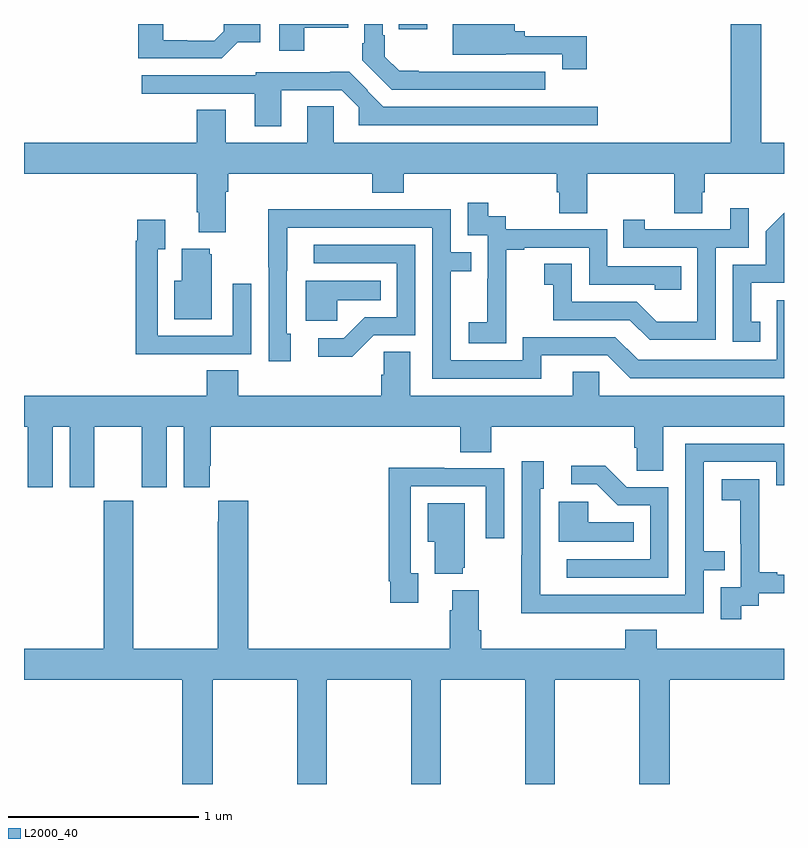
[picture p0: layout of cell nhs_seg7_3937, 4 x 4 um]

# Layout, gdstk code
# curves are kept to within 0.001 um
import gdstk
lib = gdstk.Library(unit=1e-6, precision=1e-09)
def R(c, l, rs):  # rectangles x0, y0, x1, y1
    for r in rs: c.add(gdstk.rectangle(r[:2], r[2:], *l))
def P(c, l, *ps):  # polygons
    for p in ps: c.add(gdstk.Polygon(p, *l))
L2000_40 = (2000, 40)

nhs_seg7_3937 = lib.new_cell('nhs_seg7_3937')
R(nhs_seg7_3937, L2000_40, [(360.973,1071.972,361.123,1072)])
P(nhs_seg7_3937, L2000_40, [(360.474,1071.98),(360.707,1071.98),(360.707,1072),(360.344,1072),(360.344,1071.858),(360.474,1071.858)],
  [(361.744,1071.75),(361.078,1071.75),(361.078,1071.753),(360.974,1071.753),(360.898,1071.828),(360.898,1071.94),(360.888,1071.94),(360.888,1072),(360.792,1072),(360.792,1071.898),(360.78,1071.898),(360.78,1071.809),(360.935,1071.654),(361.744,1071.654)],
  [(360.126,1071.905),(360.244,1071.905),(360.244,1072),(360.051,1072),(360.051,1071.963),(360,1071.912),(359.858,1071.912),(359.858,1071.915),(359.734,1071.915),(359.734,1072),(359.6,1072),(359.6,1071.819),(360.04,1071.819)],
  [(361.963,1071.936),(361.635,1071.936),(361.635,1071.961),(361.582,1071.961),(361.582,1072),(361.256,1072),(361.256,1071.839),(361.535,1071.839),(361.535,1071.84),(361.832,1071.84),(361.832,1071.762),(361.963,1071.762)],
  [(360.061,1071.116),(360.074,1071.116),(360.074,1071.212),(360.833,1071.212),(360.833,1071.113),(360.998,1071.113),(360.998,1071.212),(361.805,1071.212),(361.805,1071.114),(361.817,1071.114),(361.817,1071.004),(361.965,1071.004),(361.965,1071.212),(362.422,1071.212),(362.422,1071.004),(362.569,1071.004),(362.569,1071.114),(362.582,1071.114),(362.582,1071.212),(363,1071.212),(363,1071.376),(362.88,1071.376),(362.88,1072),(362.72,1072),(362.72,1071.376),(360.63,1071.376),(360.63,1071.566),(360.491,1071.566),(360.491,1071.376),(360.061,1071.376),(360.061,1071.548),(359.909,1071.548),(359.909,1071.376),(359,1071.376),(359,1071.212),(359.909,1071.212),(359.909,1071.01),(359.921,1071.01),(359.921,1070.903),(360.061,1070.903)],
  [(360.355,1071.651),(360.672,1071.651),(360.763,1071.561),(360.763,1071.468),(362.02,1071.468),(362.02,1071.564),(360.891,1071.564),(360.806,1071.649),(360.809,1071.652),(360.711,1071.75),(360.611,1071.75),(360.611,1071.747),(360.219,1071.747),(360.219,1071.729),(359.619,1071.729),(359.619,1071.633),(360.215,1071.633),(360.215,1071.462),(360.355,1071.462)],
  [(361.539,1070.527),(361.538,1070.527),(361.538,1070.811),(361.633,1070.811),(361.633,1070.823),(361.974,1070.823),(361.974,1070.628),(362.319,1070.628),(362.319,1070.601),(362.459,1070.601),(362.459,1070.724),(362.07,1070.724),(362.07,1070.919),(361.536,1070.919),(361.536,1070.988),(361.444,1070.988),(361.444,1071.058),(361.335,1071.058),(361.335,1070.889),(361.44,1070.889),(361.44,1070.66),(361.439,1070.66),(361.439,1070.431),(361.341,1070.431),(361.341,1070.321),(361.539,1070.321)],
  [(362.64,1070.823),(362.814,1070.823),(362.814,1071.031),(362.717,1071.031),(362.717,1070.919),(362.266,1070.919),(362.266,1070.971),(362.155,1070.971),(362.155,1070.823),(362.544,1070.823),(362.544,1070.434),(362.33,1070.434),(362.226,1070.538),(361.884,1070.538),(361.884,1070.737),(361.737,1070.737),(361.737,1070.627),(361.786,1070.627),(361.786,1070.442),(362.189,1070.442),(362.294,1070.337),(362.64,1070.337)],
  [(361.723,1070.256),(362.07,1070.256),(362.19,1070.136),(363,1070.136),(363,1070.547),(362.961,1070.547),(362.961,1070.232),(362.232,1070.232),(362.112,1070.352),(361.626,1070.352),(361.626,1070.229),(361.245,1070.229),(361.245,1070.698),(361.355,1070.698),(361.355,1070.799),(361.245,1070.799),(361.245,1071.024),(360.749,1071.024),(360.749,1071.026),(360.286,1071.026),(360.286,1070.719),(360.288,1070.719),(360.288,1070.226),(360.403,1070.226),(360.403,1070.37),(360.384,1070.37),(360.385,1070.928),(361.149,1070.928),(361.149,1070.133),(361.723,1070.133)],
  [(362.876,1070.433),(362.827,1070.433),(362.827,1070.637),(363,1070.637),(363,1071.006),(362.904,1070.91),(362.904,1070.733),(362.73,1070.733),(362.73,1070.328),(362.876,1070.328)],
  [(359.879,1070.262),(360.195,1070.262),(360.195,1070.632),(360.099,1070.632),(360.099,1070.358),(359.703,1070.358),(359.703,1070.815),(359.743,1070.815),(359.743,1070.971),(359.595,1070.971),(359.595,1070.858),(359.587,1070.858),(359.587,1070.261),(359.879,1070.261)],
  [(360.84,1070.361),(361.059,1070.361),(361.059,1070.838),(360.525,1070.838),(360.525,1070.742),(360.963,1070.742),(360.963,1070.457),(360.794,1070.457),(360.683,1070.346),(360.549,1070.346),(360.549,1070.249),(360.727,1070.249)],
  [(359.989,1070.787),(359.978,1070.787),(359.978,1070.818),(359.831,1070.818),(359.831,1070.65),(359.792,1070.65),(359.792,1070.447),(359.989,1070.447)],
  [(360.648,1070.546),(360.878,1070.546),(360.878,1070.65),(360.482,1070.65),(360.482,1070.438),(360.648,1070.438)],
  [(359.152,1069.88),(359.24,1069.88),(359.24,1069.563),(359.371,1069.563),(359.371,1069.88),(359.621,1069.88),(359.621,1069.563),(359.752,1069.563),(359.752,1069.88),(359.84,1069.88),(359.84,1069.563),(359.977,1069.563),(359.977,1069.675),(359.984,1069.675),(359.984,1069.88),(361.295,1069.88),(361.295,1069.747),(361.46,1069.747),(361.46,1069.88),(362.213,1069.88),(362.213,1069.771),(362.226,1069.771),(362.226,1069.648),(362.365,1069.648),(362.365,1069.88),(363,1069.88),(363,1070.044),(362.028,1070.044),(362.028,1070.171),(361.889,1070.171),(361.889,1070.044),(361.033,1070.044),(361.033,1070.276),(360.894,1070.276),(360.894,1070.153),(360.881,1070.153),(360.881,1070.044),(360.128,1070.044),(360.128,1070.177),(359.963,1070.177),(359.963,1070.044),(359,1070.044),(359,1069.88),(359.021,1069.88),(359.021,1069.563),(359.152,1069.563)],
  [(362.081,1068.9),(362.577,1068.9),(362.577,1069.125),(362.687,1069.125),(362.687,1069.226),(362.577,1069.226),(362.577,1069.695),(362.958,1069.695),(362.958,1069.572),(363,1069.572),(363,1069.791),(362.481,1069.791),(362.481,1068.996),(361.717,1068.996),(361.717,1069.25),(361.716,1069.25),(361.716,1069.554),(361.735,1069.554),(361.735,1069.699),(361.62,1069.699),(361.62,1069.205),(361.618,1069.205),(361.618,1068.899),(362.081,1068.899)],
  [(362.391,1069.563),(362.172,1069.563),(362.059,1069.676),(361.881,1069.676),(361.881,1069.578),(362.015,1069.578),(362.126,1069.467),(362.295,1069.467),(362.295,1069.182),(361.857,1069.182),(361.857,1069.086),(362.391,1069.086)],
  [(361.075,1069.11),(361.035,1069.11),(361.035,1069.566),(361.431,1069.566),(361.431,1069.293),(361.527,1069.293),(361.527,1069.662),(361.211,1069.662),(361.211,1069.664),(360.919,1069.664),(360.919,1069.066),(360.927,1069.066),(360.927,1068.954),(361.075,1068.954)],
  [(362.776,1068.937),(362.868,1068.937),(362.868,1069.005),(363,1069.005),(363,1069.101),(362.965,1069.101),(362.965,1069.114),(362.87,1069.114),(362.87,1069.397),(362.871,1069.397),(362.871,1069.603),(362.673,1069.603),(362.673,1069.493),(362.771,1069.493),(362.771,1069.265),(362.772,1069.265),(362.772,1069.035),(362.667,1069.035),(362.667,1068.867),(362.776,1068.867)],
  [(360.179,1069.492),(360.023,1069.492),(360.023,1069.379),(360.019,1069.379),(360.019,1068.712),(359.574,1068.712),(359.574,1069.492),(359.419,1069.492),(359.419,1068.712),(359,1068.712),(359,1068.548),(359.834,1068.548),(359.834,1068),(359.994,1068),(359.994,1068.548),(360.439,1068.548),(360.439,1068),(360.594,1068),(360.594,1068.548),(361.039,1068.548),(361.039,1068),(361.194,1068),(361.194,1068.548),(361.639,1068.548),(361.639,1068),(361.794,1068),(361.794,1068.548),(362.239,1068.548),(362.239,1068),(362.399,1068),(362.399,1068.548),(363,1068.548),(363,1068.712),(362.33,1068.712),(362.33,1068.811),(362.165,1068.811),(362.165,1068.712),(361.406,1068.712),(361.406,1068.808),(361.393,1068.808),(361.393,1069.021),(361.253,1069.021),(361.253,1068.914),(361.241,1068.914),(361.241,1068.712),(360.179,1068.712)],
  [(362.21,1069.378),(361.971,1069.378),(361.971,1069.486),(361.814,1069.486),(361.814,1069.274),(362.21,1069.274)],
  [(361.31,1069.137),(361.321,1069.137),(361.321,1069.477),(361.124,1069.477),(361.124,1069.274),(361.163,1069.274),(361.163,1069.106),(361.31,1069.106)])

lib.write_gds('nhs_seg7_3937.gds')
